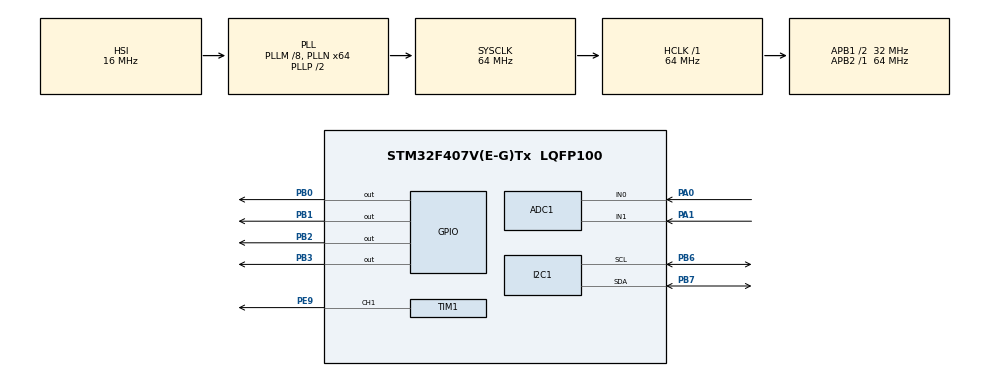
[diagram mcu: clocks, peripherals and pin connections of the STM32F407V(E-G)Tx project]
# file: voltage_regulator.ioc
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ADC1.Channel-0\#ChannelRegularConversion=ADC_CHANNEL_0
ADC1.Channel-1\#ChannelRegularConversion=ADC_CHANNEL_1
ADC1.DMAContinuousRequests=ENABLE
ADC1.EOCSelection=ADC_EOC_SEQ_CONV
ADC1.ExternalTrigConv=ADC_EXTERNALTRIGCONV_T3_TRGO
ADC1.NbrOfConversion=2
ADC1.NbrOfConversionFlag=1
ADC1.Rank-0\#ChannelRegularConversion=1
ADC1.Rank-1\#ChannelRegularConversion=2
ADC1.SamplingTime-0\#ChannelRegularConversion=ADC_SAMPLETIME_56CYCLES
ADC1.SamplingTime-1\#ChannelRegularConversion=ADC_SAMPLETIME_56CYCLES
ADC1.master=1
Dma.ADC1.0.Direction=DMA_PERIPH_TO_MEMORY
Dma.ADC1.0.FIFOMode=DMA_FIFOMODE_DISABLE
Dma.ADC1.0.Instance=DMA2_Stream0
Dma.ADC1.0.MemDataAlignment=DMA_MDATAALIGN_HALFWORD
Dma.ADC1.0.MemInc=DMA_MINC_ENABLE
Dma.ADC1.0.Mode=DMA_CIRCULAR
Dma.ADC1.0.PeriphDataAlignment=DMA_PDATAALIGN_HALFWORD
Dma.ADC1.0.PeriphInc=DMA_PINC_DISABLE
Dma.ADC1.0.Priority=DMA_PRIORITY_HIGH
Dma.I2C1_TX.1.Direction=DMA_MEMORY_TO_PERIPH
Dma.I2C1_TX.1.FIFOMode=DMA_FIFOMODE_DISABLE
Dma.I2C1_TX.1.Instance=DMA1_Stream6
Dma.I2C1_TX.1.MemDataAlignment=DMA_MDATAALIGN_BYTE
Dma.I2C1_TX.1.MemInc=DMA_MINC_ENABLE
Dma.I2C1_TX.1.Mode=DMA_NORMAL
Dma.I2C1_TX.1.PeriphDataAlignment=DMA_PDATAALIGN_BYTE
Dma.I2C1_TX.1.PeriphInc=DMA_PINC_DISABLE
Dma.I2C1_TX.1.Priority=DMA_PRIORITY_LOW
Dma.Request0=ADC1
Dma.Request1=I2C1_TX
FREERTOS.Tasks01=control_task,0,128,ControlTask,Default,NULL,Dynamic,NULL,NULL
FREERTOS.configUSE_NEWLIB_REENTRANT=1
I2C1.I2C_Mode=I2C_Fast
Mcu.Family=STM32F4
Mcu.Name=STM32F407V(E-G)Tx
Mcu.Package=LQFP100
NVIC.ADC_IRQn=true\:5\:0\:false\:false\:true\:true\:true\:true\:true
NVIC.DMA1_Stream6_IRQn=true\:5\:0\:false\:false\:true\:true\:false\:true\:true
NVIC.DMA2_Stream0_IRQn=true\:5\:0\:false\:false\:true\:true\:false\:true\:true
NVIC.PriorityGroup=NVIC_PRIORITYGROUP_4
NVIC.TIM6_DAC_IRQn=true\:15\:0\:false\:false\:true\:false\:false\:true\:true
NVIC.TimeBase=TIM6_DAC_IRQn
NVIC.TimeBaseIP=TIM6
PA0-WKUP.Signal=ADCx_IN0
PA1.Signal=ADCx_IN1
PB0.Signal=GPIO_Output
PB1.Signal=GPIO_Output
PB2.Signal=GPIO_Output
PB3.Signal=GPIO_Output
PB6.Mode=I2C
PB6.Signal=I2C1_SCL
PB7.Mode=I2C
PB7.Signal=I2C1_SDA
PE9.Signal=S_TIM1_CH1
ProjectManager.HeapSize=0x200
ProjectManager.StackSize=0x400
ProjectManager.TargetToolchain=STM32CubeIDE
RCC.48MHZClocksFreq_Value=32000000
RCC.AHBFreq_Value=64000000
RCC.APB1CLKDivider=RCC_HCLK_DIV2
RCC.APB1Freq_Value=32000000
RCC.APB1TimFreq_Value=64000000
RCC.APB2Freq_Value=64000000
RCC.APB2TimFreq_Value=64000000
RCC.CortexFreq_Value=64000000
RCC.HCLKFreq_Value=64000000
RCC.HSE_VALUE=25000000
RCC.HSI_VALUE=16000000
RCC.LSE_VALUE=32768
RCC.PLLM=8
RCC.PLLN=64
RCC.SYSCLKFreq_VALUE=64000000
RCC.SYSCLKSource=RCC_SYSCLKSOURCE_PLLCLK
RCC.VCOOutputFreq_Value=128000000
SH.ADCx_IN0.0=ADC1_IN0,IN0
SH.ADCx_IN1.0=ADC1_IN1,IN1
SH.S_TIM1_CH1.0=TIM1_CH1,PWM Generation1 CH1
TIM1.Channel-PWM\ Generation1\ CH1=TIM_CHANNEL_1
TIM1.Period=3299
TIM1.Prescaler=3
TIM3.Period=1999
TIM3.Prescaler=63
TIM3.TIM_MasterOutputTrigger=TIM_TRGO_UPDATE
VP_FREERTOS_VS_CMSIS_V1.Mode=CMSIS_V1
VP_SYS_VS_tim6.Mode=TIM6
VP_TIM3_VS_ClockSourceINT.Mode=Internal
board=custom

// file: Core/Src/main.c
/* USER CODE BEGIN Header */
/**
  ******************************************************************************
  * @file           : main.c
  * @brief          : Main program body
  ******************************************************************************
  * @attention
  *
  * Copyright (c) 2026 STMicroelectronics.
  * All rights reserved.
  *
  * This software is licensed under terms that can be found in the LICENSE file
  * in the root directory of this software component.
  * If no LICENSE file comes with this software, it is provided AS-IS.
  *
  ******************************************************************************
  */
/* USER CODE END Header */
#include "main.h"
#include "cmsis_os.h"
#include "adc.h"
#include "dma.h"
#include "i2c.h"
#include "tim.h"
#include "gpio.h"

/* USER CODE BEGIN PV */
extern osThreadId control_taskHandle;
/* USER CODE END PV */

void SystemClock_Config(void);
void MX_FREERTOS_Init(void);

int main(void)
{

  /* MCU Configuration--------------------------------------------------------*/

  /* Reset of all peripherals, Initializes the Flash interface and the Systick. */
  HAL_Init();

  /* Configure the system clock */
  SystemClock_Config();

  /* Initialize all configured peripherals */
  MX_GPIO_Init();
  MX_DMA_Init();
  MX_ADC1_Init();
  MX_I2C1_Init();
  MX_TIM1_Init();
  MX_TIM3_Init();

  /* Call init function for freertos objects (in cmsis_os2.c) */
  MX_FREERTOS_Init();

  /* Start scheduler */
  osKernelStart();

  /* We should never get here as control is now taken by the scheduler */

  /* Infinite loop */
  while (1)
  {

  }
}

void SystemClock_Config(void)
{
  RCC_OscInitTypeDef RCC_OscInitStruct = {0};
  RCC_ClkInitTypeDef RCC_ClkInitStruct = {0};

  /** Configure the main internal regulator output voltage
  */
  __HAL_RCC_PWR_CLK_ENABLE();
  __HAL_PWR_VOLTAGESCALING_CONFIG(PWR_REGULATOR_VOLTAGE_SCALE1);

  /** Initializes the RCC Oscillators according to the specified parameters
  * in the RCC_OscInitTypeDef structure.
  */
  RCC_OscInitStruct.OscillatorType = RCC_OSCILLATORTYPE_HSI;
  RCC_OscInitStruct.HSIState = RCC_HSI_ON;
  RCC_OscInitStruct.HSICalibrationValue = RCC_HSICALIBRATION_DEFAULT;
  RCC_OscInitStruct.PLL.PLLState = RCC_PLL_ON;
  RCC_OscInitStruct.PLL.PLLSource = RCC_PLLSOURCE_HSI;
  RCC_OscInitStruct.PLL.PLLM = 8;
  RCC_OscInitStruct.PLL.PLLN = 64;
  RCC_OscInitStruct.PLL.PLLP = RCC_PLLP_DIV2;
  RCC_OscInitStruct.PLL.PLLQ = 4;
  if (HAL_RCC_OscConfig(&RCC_OscInitStruct) != HAL_OK)
  {
    Error_Handler();
  }

  /** Initializes the CPU, AHB and APB buses clocks
  */
  RCC_ClkInitStruct.ClockType = RCC_CLOCKTYPE_HCLK|RCC_CLOCKTYPE_SYSCLK
                              |RCC_CLOCKTYPE_PCLK1|RCC_CLOCKTYPE_PCLK2;
  RCC_ClkInitStruct.SYSCLKSource = RCC_SYSCLKSOURCE_PLLCLK;
  RCC_ClkInitStruct.AHBCLKDivider = RCC_SYSCLK_DIV1;
  RCC_ClkInitStruct.APB1CLKDivider = RCC_HCLK_DIV2;
  RCC_ClkInitStruct.APB2CLKDivider = RCC_HCLK_DIV1;

  if (HAL_RCC_ClockConfig(&RCC_ClkInitStruct, FLASH_LATENCY_2) != HAL_OK)
  {
    Error_Handler();
  }
}

/* USER CODE BEGIN 4 */
void TaskSwitchedIn(int tag) {
#ifdef TASK_DEBUG
	switch(tag) {
	  case 1:
		GPIOB->BSRR = GPIO_PIN_0;
		break;
	  case 2:
		GPIOB->BSRR = GPIO_PIN_1;
		break;
	  case 3:
		GPIOB->BSRR = GPIO_PIN_2;
		break;
	  case 4:
		GPIOB->BSRR = GPIO_PIN_3;
		break;
	}
#endif
}

void TaskSwitchedOut(int tag) {
#ifdef TASK_DEBUG
	switch(tag) {
	  case 1:
		GPIOB->BSRR = (uint32_t)GPIO_PIN_0 << 16u;
		break;
	  case 2:
		GPIOB->BSRR = (uint32_t)GPIO_PIN_1 << 16u;
		break;
	  case 3:
		GPIOB->BSRR = (uint32_t)GPIO_PIN_2 << 16u;
		break;
	  case 4:
		GPIOB->BSRR = (uint32_t)GPIO_PIN_3 << 16u;
		break;
	}
#endif
}

void HAL_ADC_ConvCpltCallback(ADC_HandleTypeDef *hadc) {
	if (hadc->Instance == ADC1) {
	  BaseType_t xHigherPriorityTaskWoken = pdFALSE;
	  vTaskNotifyGiveFromISR(control_taskHandle, &xHigherPriorityTaskWoken);
	  portYIELD_FROM_ISR(xHigherPriorityTaskWoken);
	}
}
/* USER CODE END 4 */

void HAL_TIM_PeriodElapsedCallback(TIM_HandleTypeDef *htim)
{
  if (htim->Instance == TIM6)
  {
    HAL_IncTick();
  }
}

void Error_Handler(void)
{
  __disable_irq();
  while (1)
  {
  }
}

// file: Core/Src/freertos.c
/* USER CODE BEGIN Header */
/**
  ******************************************************************************
  * File Name          : freertos.c
  * Description        : Code for freertos applications
  ******************************************************************************
  * @attention
  *
  * Copyright (c) 2026 STMicroelectronics.
  * All rights reserved.
  *
  * This software is licensed under terms that can be found in the LICENSE file
  * in the root directory of this software component.
  * If no LICENSE file comes with this software, it is provided AS-IS.
  *
  ******************************************************************************
  */
/* USER CODE END Header */

#include "FreeRTOS.h"
#include "task.h"
#include "main.h"
#include "cmsis_os.h"

/* USER CODE BEGIN Includes */
#include "adc.h"
#include "tim.h"
#include "ssd1306.h"
#include "ssd1306_fonts.h"
#include "pi.h"
/* USER CODE END Includes */

/* USER CODE BEGIN PD */
volatile uint16_t adc_buffer[2];
volatile uint16_t disp_real_milli_voltage = 0;
volatile uint16_t disp_desired_milli_voltage = 0;

enum {
	MAX_THRESHOLD_CONTROL_VOLTAGE = 3300,
	MIN_THRESHOLD_CONTROL_VOLTAGE = 0,
};
/* USER CODE END PD */

/* USER CODE BEGIN Variables */
osThreadId OledTaskHandle;
/* USER CODE END Variables */
osThreadId control_taskHandle;

/* USER CODE BEGIN FunctionPrototypes */
void OledTask(void const * argument);
/* USER CODE END FunctionPrototypes */

void ControlTask(void const * argument);

void MX_FREERTOS_Init(void); /* (MISRA C 2004 rule 8.1) */

/* GetIdleTaskMemory prototype (linked to static allocation support) */
void vApplicationGetIdleTaskMemory( StaticTask_t **ppxIdleTaskTCBBuffer, StackType_t **ppxIdleTaskStackBuffer, uint32_t *pulIdleTaskStackSize );

/* USER CODE BEGIN GET_IDLE_TASK_MEMORY */
static StaticTask_t xIdleTaskTCBBuffer;
static StackType_t xIdleStack[configMINIMAL_STACK_SIZE];

void vApplicationGetIdleTaskMemory( StaticTask_t **ppxIdleTaskTCBBuffer, StackType_t **ppxIdleTaskStackBuffer, uint32_t *pulIdleTaskStackSize )
{
  *ppxIdleTaskTCBBuffer = &xIdleTaskTCBBuffer;
  *ppxIdleTaskStackBuffer = &xIdleStack[0];
  *pulIdleTaskStackSize = configMINIMAL_STACK_SIZE;
  /* place for user code */
}
/* USER CODE END GET_IDLE_TASK_MEMORY */

void MX_FREERTOS_Init(void) {

  /* Create the thread(s) */
  /* definition and creation of control_task */
  osThreadDef(control_task, ControlTask, osPriorityNormal, 0, 128);
  control_taskHandle = osThreadCreate(osThread(control_task), NULL);

  /* USER CODE BEGIN RTOS_THREADS */
  osThreadDef(oled_task, OledTask, osPriorityBelowNormal, 0, 128);
  OledTaskHandle = osThreadCreate(osThread(oled_task), NULL);
  /* USER CODE END RTOS_THREADS */

}

void ControlTask(void const * argument)
{
  /* USER CODE BEGIN ControlTask */
  vTaskSetApplicationTaskTag(NULL, (void*)1);
  HAL_ADC_Start_DMA(&hadc1, (uint32_t*)adc_buffer, 2);
  HAL_TIM_Base_Start(&htim3);
  HAL_TIM_PWM_Start(&htim1, TIM_CHANNEL_1);
  pi_reg_t pi_reg = {
		  .kp = 1.8f,
		  .ki = 400.0f,
		  .max_threshold = MAX_THRESHOLD_CONTROL_VOLTAGE,
		  .min_threshold = MIN_THRESHOLD_CONTROL_VOLTAGE,
		  .delta_t = 0.002,
		  .int_part = 0.0f
  };
  /* Infinite loop */
  for(;;)
  {
	ulTaskNotifyTake(pdTRUE, portMAX_DELAY);
	float real_milli_voltage = adc_buffer[1] * (3300.0f / 4095);
	float desired_milli_voltage = adc_buffer[0] * (3300.0f / 4095);
	float control_action = regulate(&pi_reg, desired_milli_voltage, real_milli_voltage);
	__HAL_TIM_SET_COMPARE(&htim1, TIM_CHANNEL_1, control_action);
	disp_real_milli_voltage = (uint16_t)(real_milli_voltage + 0.5f);
	disp_desired_milli_voltage = (uint16_t)(desired_milli_voltage + 0.5f);
  }
  /* USER CODE END ControlTask */
}

/* USER CODE BEGIN Application */
static void millivolt_to_str(uint16_t mv, char *buf) {
    uint16_t whole = mv / 1000u;
    uint16_t frac  = (mv % 1000u) / 10u;

    if (whole >= 10) {
		buf[0] = '0' + (whole / 10);
		buf[1] = '0' + (whole % 10);
	} else {
		buf[0] = ' ';
		buf[1] = '0' + whole;
	}

	buf[2] = '.';
	buf[3] = '0' + (frac / 10);
	buf[4] = '0' + (frac % 10);
	buf[5] = '\0';
}

void OledTask(void const * argument)
{
	vTaskSetApplicationTaskTag(NULL, (void*)2);
	char buffer[10];
	ssd1306_Init();
	ssd1306_Fill(Black);
	ssd1306_SetCursor(0, 0);
	ssd1306_WriteString("d=", Font_7x10, White);
	ssd1306_SetCursor(0, 30);
	ssd1306_WriteString("r=", Font_7x10, White);
	ssd1306_UpdateScreen();
	  /* Infinite loop */
	for(;;)
	{
	  while (HAL_I2C_GetState(&hi2c1) != HAL_I2C_STATE_READY)
	  {
		  osDelay(1);
	  }
	  ssd1306_SetCursor(40, 0);
	  millivolt_to_str(disp_desired_milli_voltage, buffer);
	  ssd1306_WriteString(buffer, Font_7x10, White);
	  ssd1306_SetCursor(40, 30);
	  millivolt_to_str(disp_real_milli_voltage, buffer);
	  ssd1306_WriteString(buffer, Font_7x10, White);
	  ssd1306_UpdateScreen();
	  osDelay(100);
	}

}
/* USER CODE END Application */
